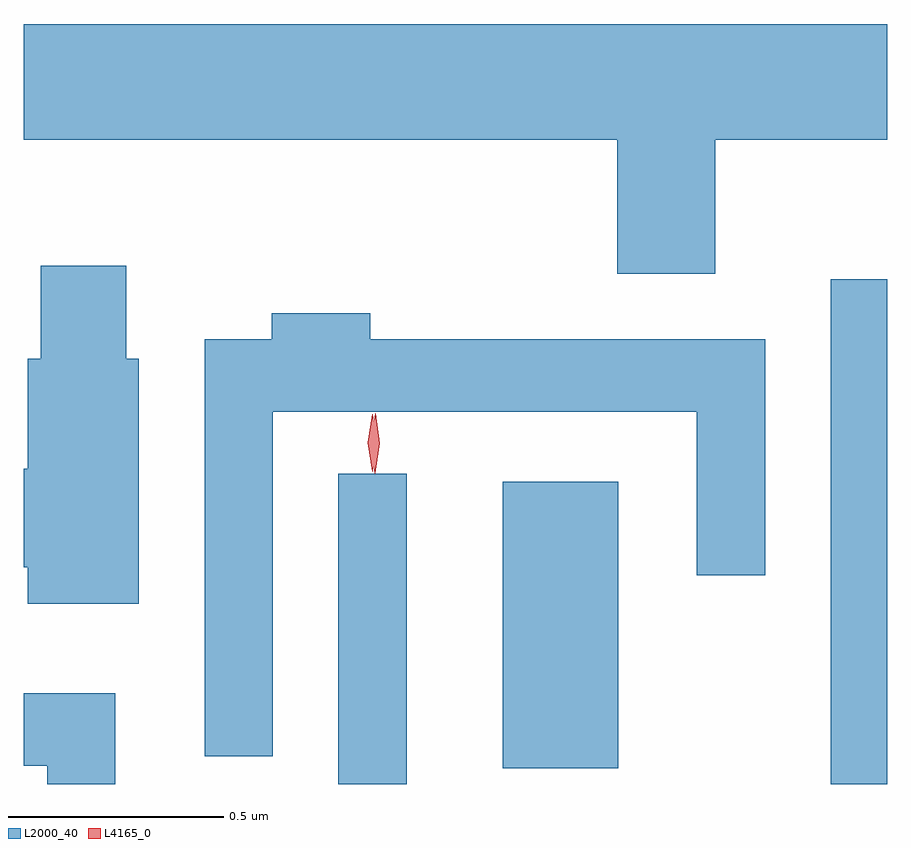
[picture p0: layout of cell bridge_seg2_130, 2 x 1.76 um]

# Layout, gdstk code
import gdstk
lib = gdstk.Library(unit=1e-6, precision=1e-09)
def R(c, l, rs):  # rectangles x0, y0, x1, y1
    for r in rs: c.add(gdstk.rectangle(r[:2], r[2:], *l))
def P(c, l, *ps):  # polygons
    for p in ps: c.add(gdstk.Polygon(p, *l))
L2000_40 = (2000, 40)
L4165_0 = (4165, 0)

bridge_seg2_130 = lib.new_cell('bridge_seg2_130')
R(bridge_seg2_130, L2000_40, [(1022.956,1102.324,1023.114,1103.043), (1024.096,1102.324,1024.227,1103.493), (1023.336,1102.361,1023.604,1103.024)])
P(bridge_seg2_130, L2000_40, [(1023.829,1103.816),(1024.227,1103.816),(1024.227,1104.084),(1022.227,1104.084),(1022.227,1103.816),(1023.601,1103.816),(1023.601,1103.506),(1023.829,1103.506)],
  [(1022.494,1103.309),(1022.464,1103.309),(1022.464,1103.524),(1022.266,1103.524),(1022.266,1103.309),(1022.236,1103.309),(1022.236,1103.054),(1022.227,1103.054),(1022.227,1102.826),(1022.236,1102.826),(1022.236,1102.741),(1022.494,1102.741)],
  [(1022.804,1103.186),(1023.786,1103.186),(1023.786,1102.808),(1023.944,1102.808),(1023.944,1103.354),(1023.029,1103.354),(1023.029,1103.414),(1022.801,1103.414),(1022.801,1103.354),(1022.646,1103.354),(1022.646,1102.388),(1022.804,1102.388)],
  [(1022.439,1102.534),(1022.227,1102.534),(1022.227,1102.366),(1022.281,1102.366),(1022.281,1102.324),(1022.439,1102.324)])
P(bridge_seg2_130, L4165_0, [(1023.041,1103.043),(1023.04,1103.044),(1023.031,1103.113),(1023.041,1103.182),(1023.041,1103.183),(1023.042,1103.182),(1023.051,1103.113),(1023.041,1103.044)],
  [(1023.035,1103.047),(1023.034,1103.048),(1023.024,1103.114),(1023.034,1103.18),(1023.034,1103.18),(1023.035,1103.18),(1023.044,1103.114),(1023.035,1103.048)])

lib.write_gds('bridge_seg2_130.gds')
